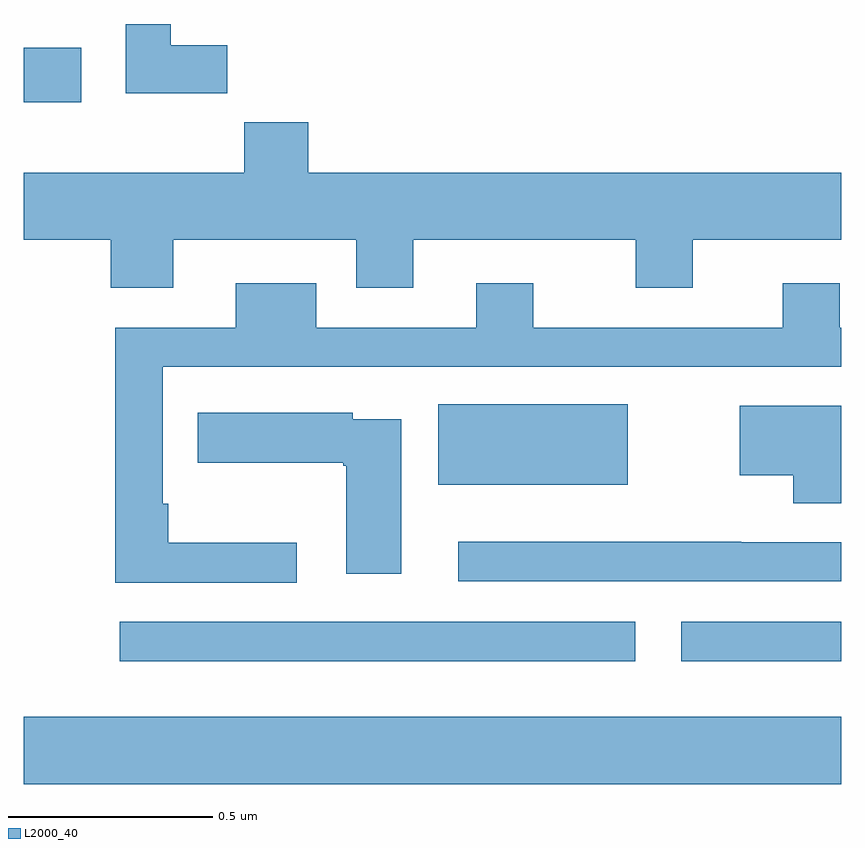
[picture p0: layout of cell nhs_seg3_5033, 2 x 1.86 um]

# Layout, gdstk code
import gdstk
lib = gdstk.Library(unit=1e-6, precision=1e-09)
def R(c, l, rs):  # rectangles x0, y0, x1, y1
    for r in rs: c.add(gdstk.rectangle(r[:2], r[2:], *l))
def P(c, l, *ps):  # polygons
    for p in ps: c.add(gdstk.Polygon(p, *l))
L2000_40 = (2000, 40)

nhs_seg3_5033 = lib.new_cell('nhs_seg3_5033')
R(nhs_seg3_5033, L2000_40, [(173,743.54,175,743.704), (173.235,743.84,174.496,743.937), (174.609,743.84,175,743.937), (174.014,744.272,174.478,744.469), (173,745.208,173.14,745.342)])
P(nhs_seg3_5033, L2000_40, [(173.498,745.348),(173.359,745.348),(173.359,745.4),(173.249,745.4),(173.249,745.23),(173.498,745.23)],
  [(173.365,744.872),(173.813,744.872),(173.813,744.755),(173.953,744.755),(173.953,744.872),(174.497,744.872),(174.497,744.755),(174.637,744.755),(174.637,744.872),(175,744.872),(175,745.036),(173.696,745.036),(173.696,745.16),(173.539,745.16),(173.539,745.036),(173,745.036),(173,744.872),(173.213,744.872),(173.213,744.755),(173.365,744.755)],
  [(173.668,744.131),(173.353,744.131),(173.353,744.226),(173.34,744.226),(173.34,744.561),(175,744.561),(175,744.657),(174.997,744.657),(174.997,744.766),(174.857,744.766),(174.857,744.657),(174.247,744.657),(174.247,744.766),(174.107,744.766),(174.107,744.657),(173.716,744.657),(173.716,744.766),(173.519,744.766),(173.519,744.657),(173.224,744.657),(173.224,744.033),(173.668,744.033)],
  [(175,744.466),(174.752,744.466),(174.752,744.296),(174.883,744.296),(174.883,744.227),(175,744.227)],
  [(173.923,744.433),(173.805,744.433),(173.805,744.448),(173.425,744.448),(173.425,744.326),(173.782,744.326),(173.782,744.319),(173.789,744.319),(173.789,744.054),(173.923,744.054)],
  [(175,744.132),(174.756,744.132),(174.756,744.133),(174.063,744.133),(174.063,744.036),(175,744.036)])

lib.write_gds('nhs_seg3_5033.gds')
